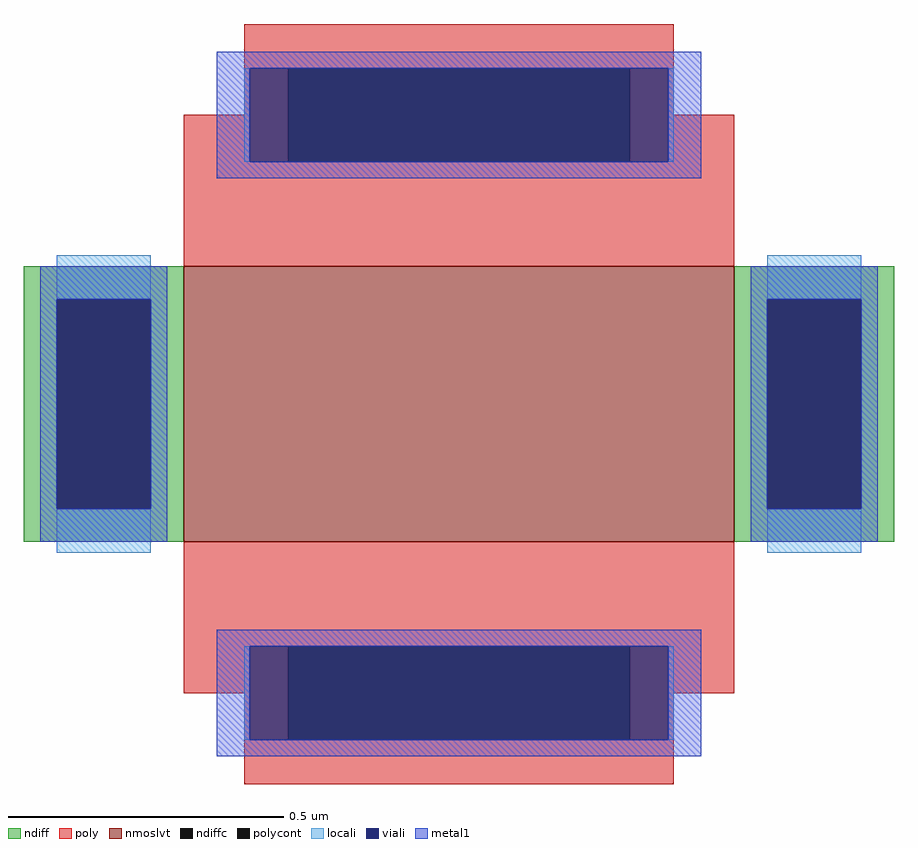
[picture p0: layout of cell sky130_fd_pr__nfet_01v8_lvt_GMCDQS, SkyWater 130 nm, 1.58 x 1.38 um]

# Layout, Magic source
magic
tech sky130A
magscale 1 2
<< nmoslvt >>
rect -100 -50 100 50
<< ndiff >>
rect -158 38 -100 50
rect -158 -38 -146 38
rect -112 -38 -100 38
rect -158 -50 -100 -38
rect 100 38 158 50
rect 100 -38 112 38
rect 146 -38 158 38
rect 100 -50 158 -38
<< ndiffc >>
rect -146 -38 -112 38
rect 112 -38 146 38
<< poly >>
rect -78 122 78 138
rect -78 105 -62 122
rect -100 88 -62 105
rect 62 105 78 122
rect 62 88 100 105
rect -100 50 100 88
rect -100 -88 100 -50
rect -100 -105 -62 -88
rect -78 -122 -62 -105
rect 62 -105 100 -88
rect 62 -122 78 -105
rect -78 -138 78 -122
<< polycont >>
rect -62 88 62 122
rect -62 -122 62 -88
<< locali >>
rect -78 88 -76 122
rect 76 88 78 122
rect -146 38 -112 54
rect -146 -54 -112 -38
rect 112 38 146 54
rect 112 -54 146 -38
rect -78 -122 -76 -88
rect 76 -122 78 -88
<< viali >>
rect -76 88 -62 122
rect -62 88 62 122
rect 62 88 76 122
rect -146 -38 -112 38
rect 112 -38 146 38
rect -76 -122 -62 -88
rect -62 -122 62 -88
rect 62 -122 76 -88
<< metal1 >>
rect -88 122 88 128
rect -88 88 -76 122
rect 76 88 88 122
rect -88 82 88 88
rect -152 38 -106 50
rect -152 -38 -146 38
rect -112 -38 -106 38
rect -152 -50 -106 -38
rect 106 38 152 50
rect 106 -38 112 38
rect 146 -38 152 38
rect 106 -50 152 -38
rect -88 -88 88 -82
rect -88 -122 -76 -88
rect 76 -122 88 -88
rect -88 -128 88 -122
<< properties >>
string gencell sky130_fd_pr__nfet_01v8_lvt
string library sky130
string parameters w 0.5 l 1.0 m 1 nf 1 diffcov 100 polycov 74 guard 0 glc 1 grc 1 gtc 1 gbc 1 tbcov 100 rlcov 100 topc 1 botc 1 poverlap 0 doverlap 1 lmin 0.15 wmin 0.42 class mosfet compatible {sky130_fd_pr__nfet_01v8 sky130_fd_pr__nfet_01v8_lvt  sky130_fd_bs_flash__special_sonosfet_star  sky130_fd_pr__nfet_g5v0d10v5 sky130_fd_pr__nfet_05v0_nvt  sky130_fd_pr__nfet_03v3_nvt} full_metal 1 viasrc 100 viadrn 100 viagate 90 viagb 0 viagr 0 viagl 0 viagt 0
<< end >>
